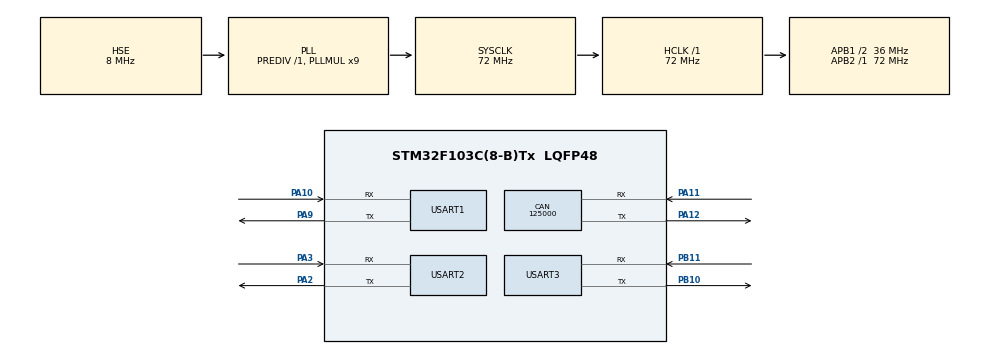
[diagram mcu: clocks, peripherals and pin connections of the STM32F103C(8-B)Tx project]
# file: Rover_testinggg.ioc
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CAN.BS1=CAN_BS1_15TQ
CAN.BS2=CAN_BS2_2TQ
CAN.CalculateBaudRate=125000
CAN.CalculateTimeBit=8000
CAN.CalculateTimeQuantum=444.44444444444446
Dma.Request0=USART1_RX
Dma.Request1=USART1_TX
Dma.Request2=USART2_RX
Dma.Request3=USART2_TX
Dma.Request4=USART3_RX
Dma.Request5=USART3_TX
Dma.USART1_RX.0.Direction=DMA_PERIPH_TO_MEMORY
Dma.USART1_RX.0.Instance=DMA1_Channel5
Dma.USART1_RX.0.MemDataAlignment=DMA_MDATAALIGN_BYTE
Dma.USART1_RX.0.MemInc=DMA_MINC_ENABLE
Dma.USART1_RX.0.Mode=DMA_NORMAL
Dma.USART1_RX.0.PeriphDataAlignment=DMA_PDATAALIGN_BYTE
Dma.USART1_RX.0.PeriphInc=DMA_PINC_DISABLE
Dma.USART1_RX.0.Priority=DMA_PRIORITY_LOW
Dma.USART1_TX.1.Direction=DMA_MEMORY_TO_PERIPH
Dma.USART1_TX.1.Instance=DMA1_Channel4
Dma.USART1_TX.1.MemDataAlignment=DMA_MDATAALIGN_BYTE
Dma.USART1_TX.1.MemInc=DMA_MINC_ENABLE
Dma.USART1_TX.1.Mode=DMA_NORMAL
Dma.USART1_TX.1.PeriphDataAlignment=DMA_PDATAALIGN_BYTE
Dma.USART1_TX.1.PeriphInc=DMA_PINC_DISABLE
Dma.USART1_TX.1.Priority=DMA_PRIORITY_LOW
Dma.USART2_RX.2.Direction=DMA_PERIPH_TO_MEMORY
Dma.USART2_RX.2.Instance=DMA1_Channel6
Dma.USART2_RX.2.MemDataAlignment=DMA_MDATAALIGN_BYTE
Dma.USART2_RX.2.MemInc=DMA_MINC_ENABLE
Dma.USART2_RX.2.Mode=DMA_NORMAL
Dma.USART2_RX.2.PeriphDataAlignment=DMA_PDATAALIGN_BYTE
Dma.USART2_RX.2.PeriphInc=DMA_PINC_DISABLE
Dma.USART2_RX.2.Priority=DMA_PRIORITY_LOW
Dma.USART2_TX.3.Direction=DMA_MEMORY_TO_PERIPH
Dma.USART2_TX.3.Instance=DMA1_Channel7
Dma.USART2_TX.3.MemDataAlignment=DMA_MDATAALIGN_BYTE
Dma.USART2_TX.3.MemInc=DMA_MINC_ENABLE
Dma.USART2_TX.3.Mode=DMA_NORMAL
Dma.USART2_TX.3.PeriphDataAlignment=DMA_PDATAALIGN_BYTE
Dma.USART2_TX.3.PeriphInc=DMA_PINC_DISABLE
Dma.USART2_TX.3.Priority=DMA_PRIORITY_LOW
Dma.USART3_RX.4.Direction=DMA_PERIPH_TO_MEMORY
Dma.USART3_RX.4.Instance=DMA1_Channel3
Dma.USART3_RX.4.MemDataAlignment=DMA_MDATAALIGN_BYTE
Dma.USART3_RX.4.MemInc=DMA_MINC_ENABLE
Dma.USART3_RX.4.Mode=DMA_NORMAL
Dma.USART3_RX.4.PeriphDataAlignment=DMA_PDATAALIGN_BYTE
Dma.USART3_RX.4.PeriphInc=DMA_PINC_DISABLE
Dma.USART3_RX.4.Priority=DMA_PRIORITY_LOW
Dma.USART3_TX.5.Direction=DMA_MEMORY_TO_PERIPH
Dma.USART3_TX.5.Instance=DMA1_Channel2
Dma.USART3_TX.5.MemDataAlignment=DMA_MDATAALIGN_BYTE
Dma.USART3_TX.5.MemInc=DMA_MINC_ENABLE
Dma.USART3_TX.5.Mode=DMA_NORMAL
Dma.USART3_TX.5.PeriphDataAlignment=DMA_PDATAALIGN_BYTE
Dma.USART3_TX.5.PeriphInc=DMA_PINC_DISABLE
Dma.USART3_TX.5.Priority=DMA_PRIORITY_LOW
Mcu.Family=STM32F1
Mcu.Name=STM32F103C(8-B)Tx
Mcu.Package=LQFP48
NVIC.DMA1_Channel2_IRQn=true\:0\:0\:false\:false\:true\:false\:true\:true
NVIC.DMA1_Channel3_IRQn=true\:0\:0\:false\:false\:true\:false\:true\:true
NVIC.DMA1_Channel4_IRQn=true\:0\:0\:false\:false\:true\:false\:true\:true
NVIC.DMA1_Channel5_IRQn=true\:0\:0\:false\:false\:true\:false\:true\:true
NVIC.DMA1_Channel6_IRQn=true\:0\:0\:false\:false\:true\:false\:true\:true
NVIC.DMA1_Channel7_IRQn=true\:0\:0\:false\:false\:true\:false\:true\:true
NVIC.PriorityGroup=NVIC_PRIORITYGROUP_4
NVIC.RCC_IRQn=true\:0\:0\:false\:false\:true\:true\:false\:true
NVIC.USART1_IRQn=true\:0\:0\:false\:false\:true\:true\:true\:true
NVIC.USART2_IRQn=true\:0\:0\:false\:false\:true\:true\:true\:true
NVIC.USART3_IRQn=true\:0\:0\:false\:false\:true\:true\:true\:true
PA10.Mode=Asynchronous
PA10.Signal=USART1_RX
PA11.Mode=CAN_Activate
PA11.Signal=CAN_RX
PA12.Mode=CAN_Activate
PA12.Signal=CAN_TX
PA13.Mode=Serial_Wire
PA13.Signal=SYS_JTMS-SWDIO
PA14.Mode=Serial_Wire
PA14.Signal=SYS_JTCK-SWCLK
PA2.Mode=Asynchronous
PA2.Signal=USART2_TX
PA3.Mode=Asynchronous
PA3.Signal=USART2_RX
PA9.Mode=Asynchronous
PA9.Signal=USART1_TX
PB10.Mode=Asynchronous
PB10.Signal=USART3_TX
PB11.Mode=Asynchronous
PB11.Signal=USART3_RX
PD0-OSC_IN.Mode=HSE-External-Oscillator
PD0-OSC_IN.Signal=RCC_OSC_IN
PD1-OSC_OUT.Mode=HSE-External-Oscillator
PD1-OSC_OUT.Signal=RCC_OSC_OUT
ProjectManager.HeapSize=0x200
ProjectManager.StackSize=0x400
ProjectManager.TargetToolchain=MDK-ARM V5.32
RCC.AHBFreq_Value=72000000
RCC.APB1CLKDivider=RCC_HCLK_DIV2
RCC.APB1Freq_Value=36000000
RCC.APB1TimFreq_Value=72000000
RCC.APB2Freq_Value=72000000
RCC.APB2TimFreq_Value=72000000
RCC.HCLKFreq_Value=72000000
RCC.PLLMUL=RCC_PLL_MUL9
RCC.PLLSourceVirtual=RCC_PLLSOURCE_HSE
RCC.SYSCLKFreq_VALUE=72000000
RCC.SYSCLKSource=RCC_SYSCLKSOURCE_PLLCLK
RCC.USBFreq_Value=72000000
USART1.VirtualMode=VM_ASYNC
USART2.VirtualMode=VM_ASYNC
USART3.VirtualMode=VM_ASYNC
board=custom

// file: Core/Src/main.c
/* USER CODE BEGIN Header */
/**
  ******************************************************************************
  * @file           : main.c
  * @author			: Adham Ehab
  * @title			: Rover Testing
  * @brief          : Main program body
  ******************************************************************************
  */
/* USER CODE END Header */
#include "main.h"

/* USER CODE BEGIN Includes */

#include "../../roboclaw/roboclaw.h"
#include "string.h"
#include <stdio.h>

/* USER CODE END Includes */

/* USER CODE BEGIN PTD */

#define pulses_per_revolution_encoder 5281
#define pulses_per_revolution_gearbox 28
#define reduction_ratio 188

#define CPR 1200            // Quadrature-decoded counts per revolution of the motor shaft
#define GEAR_RATIO 168      // Gear reduction ratio 168:1

/* USER CODE END PTD */

/* USER CODE BEGIN PM */

uint32_t encoderrrr;

SERIAL_HandleTypeDef* hserial_uart1;
SERIAL_HandleTypeDef* hserial_uart2;
SERIAL_HandleTypeDef* hserial_uart3;
RoboClaw_HandleTypeDef hroboclaw_mc1;
RoboClaw_HandleTypeDef hroboclaw_mc2;
RoboClaw_HandleTypeDef hroboclaw_mc3;

uint8_t motorsSpeeds[8];

ROBOCLAW_StatusTypeDef statusm1;

uint32_t m1_enc_cnt=0;

uint32_t m1a_speed=0;
uint32_t m1b_speed=0;
uint32_t m2a_speed=0;
uint32_t m2b_speed=0;
uint32_t m3a_speed=0;
uint32_t m3b_speed=0;

uint32_t prev_m1a_speed = 0;
uint32_t prev_m1b_speed = 0;
uint32_t prev_m2a_speed = 0;
uint32_t prev_m2b_speed = 0;
uint32_t prev_m3a_speed = 0;
uint32_t prev_m3b_speed = 0;
uint8_t data1=0;
uint8_t data3=0;

uint8_t status1a=0;
uint8_t status1b=0;
uint8_t status2a=0;
uint8_t status2b=0;
uint8_t status3a=0;
uint8_t status3b=0;
bool valid1a;
bool valid1b;
bool valid2a;
bool valid2b;
bool valid3a;
bool valid3b;

uint32_t debug_buff[100];
uint8_t SendMotorRPMs[6];

/* USER CODE END PM */

CAN_HandleTypeDef hcan;

UART_HandleTypeDef huart1;
UART_HandleTypeDef huart2;
UART_HandleTypeDef huart3;
DMA_HandleTypeDef hdma_usart1_rx;
DMA_HandleTypeDef hdma_usart1_tx;
DMA_HandleTypeDef hdma_usart2_rx;
DMA_HandleTypeDef hdma_usart2_tx;
DMA_HandleTypeDef hdma_usart3_rx;
DMA_HandleTypeDef hdma_usart3_tx;

void SystemClock_Config(void);
static void MX_GPIO_Init(void);
static void MX_DMA_Init(void);
static void MX_CAN_Init(void);
static void MX_USART1_UART_Init(void);
static void MX_USART2_UART_Init(void);
static void MX_USART3_UART_Init(void);
/* USER CODE BEGIN PFP */

/*
int32_t pulsesPerSecondToRPM(int32_t pulsesPerSecond) {
  int32_t motorRPM = ((pulsesPerSecond * 60.0) / (168.0 * 1200));
  return motorRPM;
}

int32_t pulsesPerSecondToRPM(int32_t pulsesPerSecond) {
  int32_t motorRPM = (pulsesPerSecond / pulses_per_revolution_gearbox) * (60 / reduction_ratio);
  return motorRPM;
}
*/

/* USER CODE END PFP */

/* USER CODE BEGIN 0 */

float motorRPM;
float outputRPM;

/*
int _write(int file, char *ptr, int len) {
    while (!uartTxComplete); // Wait if previous transmission is not done
    uartTxComplete = 0;
    HAL_UART_Transmit_IT(&huart1, (uint8_t*) ptr, len);
    return len;
}
*/
// UART transmission complete callback
//void HAL_UART_TxCpltCallback_NB(UART_HandleTypeDef *huart) {
//    if (huart->Instance == USART1) {
//        uartTxComplete = 1;
//    }
//}

CAN_FilterTypeDef sFilterConfig;
CAN_RxHeaderTypeDef RxHeader;
uint8_t RxData[8];
//uint8_t delayLED;
void HAL_CAN_RxFifo1MsgPendingCallback(CAN_HandleTypeDef *hcan)
{
  HAL_CAN_GetRxMessage(hcan, CAN_RX_FIFO1, &RxHeader, RxData);
//  delayLED = RxData[7];
}

//transmit
uint16_t readValue;
CAN_TxHeaderTypeDef TxHeader;
uint32_t TxMailbox;
uint8_t TxData[8]="ADHAM---";

/* USER CODE END 0 */

int main(void)
{

  /* MCU Configuration--------------------------------------------------------*/

  /* Reset of all peripherals, Initializes the Flash interface and the Systick. */
  HAL_Init();

  /* Configure the system clock */
  SystemClock_Config();

  /* Initialize all configured peripherals */
  MX_GPIO_Init();
  MX_DMA_Init();
  MX_CAN_Init();
  MX_USART1_UART_Init();
  MX_USART2_UART_Init();
  MX_USART3_UART_Init();
  /* USER CODE BEGIN 2 */

  /* Initialize RoboClaws */
	hserial_uart1 = serial_init(&huart1);
	hroboclaw_mc1.hserial = hserial_uart1;
	hroboclaw_mc1.packetserial_address = 0x80;

	hserial_uart2 = serial_init(&huart2);
	hroboclaw_mc2.hserial = hserial_uart2;
	hroboclaw_mc2.packetserial_address = 0x82;

	hserial_uart3 = serial_init(&huart3);
	hroboclaw_mc3.hserial = hserial_uart3;
	hroboclaw_mc3.packetserial_address = 0x84;

	HAL_CAN_Start(&hcan);
    TxHeader.DLC = 8;  // data length
    TxHeader.IDE = CAN_ID_STD;
    TxHeader.RTR = CAN_RTR_DATA;
    TxHeader.StdId = 0x6A5;  // ID can be between Hex1 and Hex7FF (1-2047 decimal)

    HAL_CAN_Start(&hcan);
	// Configure the filter
	sFilterConfig.FilterActivation = CAN_FILTER_ENABLE;
	sFilterConfig.FilterFIFOAssignment = CAN_FILTER_FIFO1;
	sFilterConfig.FilterMode = CAN_FILTERMODE_IDMASK;
	sFilterConfig.FilterIdHigh = 0x6A5<<5;
	sFilterConfig.FilterIdLow = 0;
	sFilterConfig.FilterMaskIdHigh = 0x7FF<<5; // SET 0 to unfilter
	sFilterConfig.FilterMaskIdLow = 0;
	sFilterConfig.FilterScale = CAN_FILTERSCALE_32BIT;
	HAL_CAN_ConfigFilter(&hcan, &sFilterConfig);
	// Activate the notification
	HAL_CAN_ActivateNotification(&hcan, CAN_IT_RX_FIFO1_MSG_PENDING);

  /* USER CODE END 2 */

  /* Infinite loop */
  /* USER CODE BEGIN WHILE */
  while (1)
  {

/******************encoder working code***************************/

	  /*
	  motorRPM = (encoderrrr * 60.0) / CPR;
	  outputRPM = motorRPM / GEAR_RATIO;
	  encoderrrr = ReadEncM1(&hroboclaw_mc1, &status1a, &valid1a);
	  BackwardM1(&hroboclaw_mc1, 80);
	  HAL_Delay(3000);

	  BackwardM1(&hroboclaw_mc1, 0);
	  HAL_Delay(3000);

	  HAL_CAN_AddTxMessage(&hcan, &TxHeader, TxData, &TxMailbox);
	  HAL_Delay(1000);
	  */

	  HAL_CAN_AddTxMessage(&hcan, &TxHeader, TxData, &TxMailbox);
	  motorsSpeeds[0] = RxData[0];
	  motorsSpeeds[1] = RxData[1];
	  motorsSpeeds[2] = RxData[2];
	  motorsSpeeds[3] = RxData[3];
	  motorsSpeeds[4] = RxData[4];
	  motorsSpeeds[5] = RxData[5];

	  ForwardBackwardM1(&hroboclaw_mc1, motorsSpeeds[3]);
	  ForwardBackwardM2(&hroboclaw_mc1, motorsSpeeds[0]);

	  ForwardBackwardM1(&hroboclaw_mc2, motorsSpeeds[1]);
	  ForwardBackwardM2(&hroboclaw_mc2, motorsSpeeds[4]);

	  ForwardBackwardM1(&hroboclaw_mc3, motorsSpeeds[2]);
	  ForwardBackwardM2(&hroboclaw_mc3, motorsSpeeds[5]);

	  HAL_Delay(20);

/*
		  ForwardBackwardM1(&hroboclaw_mc1, 80);
		  ForwardBackwardM2(&hroboclaw_mc1, 80);

		  ForwardBackwardM1(&hroboclaw_mc2, 80);
		  ForwardBackwardM2(&hroboclaw_mc2, 80);

		  ForwardBackwardM1(&hroboclaw_mc3, 80);
		  ForwardBackwardM2(&hroboclaw_mc3, 80);

		  HAL_Delay(3000);

		  ForwardBackwardM1(&hroboclaw_mc1, 64);
		  ForwardBackwardM2(&hroboclaw_mc1, 64);

		  ForwardBackwardM1(&hroboclaw_mc2, 64);
		  ForwardBackwardM2(&hroboclaw_mc2, 64);

		  ForwardBackwardM1(&hroboclaw_mc3, 64);
		  ForwardBackwardM2(&hroboclaw_mc3, 64);

		  HAL_Delay(3000);
*/
	  /*
	  ForwardBackwardM1(&hroboclaw_mc1, motorsSpeeds[0]);
	  ForwardBackwardM2(&hroboclaw_mc1, motorsSpeeds[3]);

	  ForwardBackwardM1(&hroboclaw_mc2, motorsSpeeds[1]);
	  ForwardBackwardM2(&hroboclaw_mc2, motorsSpeeds[4]);

	  ForwardBackwardM1(&hroboclaw_mc3, motorsSpeeds[2]);
	  ForwardBackwardM2(&hroboclaw_mc3, motorsSpeeds[5]);
	  */

	  /*
	  ForwardBackwardM1(&hroboclaw_mc1, 10);
	  ForwardBackwardM2(&hroboclaw_mc1, 10);

	  ForwardBackwardM1(&hroboclaw_mc2, 10);
	  ForwardBackwardM2(&hroboclaw_mc2, 10);

	  ForwardBackwardM1(&hroboclaw_mc3, 10);
	  ForwardBackwardM2(&hroboclaw_mc3, 10);

	  HAL_Delay(3000);

	  ForwardBackwardM1(&hroboclaw_mc1, 64);
	  ForwardBackwardM2(&hroboclaw_mc1, 64);

	  ForwardBackwardM1(&hroboclaw_mc2, 64);
	  ForwardBackwardM2(&hroboclaw_mc2, 64);

	  ForwardBackwardM1(&hroboclaw_mc3, 64);
	  ForwardBackwardM2(&hroboclaw_mc3, 64);

	  HAL_Delay(3000);
	  */

    /* USER CODE END WHILE */

    /* USER CODE BEGIN 3 */

	  //ForwardBackwardM1(&hroboclaw_mc1, 80);
	  		/*m1a_speed = ReadSpeedM1(&hroboclaw_mc1, &status1a, &valid1a);
	  		SendMotorRPMs[0]=pulsesPerSecondToRPM(m1a_speed);
	  					HAL_Delay(100);

	      //data=serial_read(&hroboclaw_mc1);
	  		//ForwardBackwardM2(&hroboclaw_mc1, 80);
	  		m1b_speed = ReadSpeedM2(&hroboclaw_mc1, &status1b, &valid1b);
	  		SendMotorRPMs[1]=pulsesPerSecondToRPM(m1b_speed);
	  				HAL_Delay(100);*/

	  				/*data1=serial_read(hserial_uart1);
	  							HAL_Delay(100);*/
	  	  //ForwardBackwardM1(&hroboclaw_mc2, 80);
	  		/*m2a_speed = ReadSpeedM1(&hroboclaw_mc2, &status2a, &valid2a);
	  		SendMotorRPMs[2] = pulsesPerSecondToRPM(m2a_speed);
	  				HAL_Delay(30);*/

	  	  //ADHaaaaaaaaaaaaaaaaaaaaaaaaaaaaaaaaaaaaaaaaaaaaaaaaaaaaaaaaaaaaaaaaaaaaaaaaaaaaaaaaaaaaaaaaaaam
	  //	  motorRPM = (encoderrrr * 60.0) / CPR;
	  //	  outputRPM = motorRPM / GEAR_RATIO;
	  //	  ForwardM1(&hroboclaw_mc1, 80);
	  //	  encoderrrr = ReadEncM1(&hroboclaw_mc1, &status1a, &valid1a);

	  //	  printf("Speed: %ld | Motor RPM: %.2f | Output RPM: %.2f\r\n",
	  //			  encoderrrr, motorRPM, outputRPM);
	  //		m2b_speed = ReadSpeedM2(&hroboclaw_mc2, &status2b, &valid2b);
	  //		SendMotorRPMs[3] = pulsesPerSecondToRPM(m2b_speed);
	  		//ForwardBackwardM1(&hroboclaw_mc3, 80);
	  		//m3a_speed = ReadSpeedM1(&hroboclaw_mc3, &status3a, &valid3a);
	  		//SendMotorRPMs[4] = pulsesPerSecondToRPM(m3a_speed);
	  				//	HAL_Delay(100);0

	  		//ForwardBackwardM2(&hroboclaw_mc3, 80);
	   /*m3b_speed = ReadSpeedM2(&hroboclaw_mc3, &status3b, &valid3b);
	  		SendMotorRPMs[5] = pulsesPerSecondToRPM(m3b_speed);
	  			HAL_Delay(50);*/

	  					/*	data3=serial_read(hserial_uart3);
	  							HAL_Delay(100);*/
	     /* BackwardM1(&hroboclaw_mc1, 60);
	  		snprintf((uint32_t*)debug_buff, 100, "%d\r\n", m1_speed);
	  		serial_write(hserial_uart2,(const uint32_t )debug_buff, strlen((const uint32_t)debug_buff));*/
  }
  /* USER CODE END 3 */
}

void SystemClock_Config(void)
{
  RCC_OscInitTypeDef RCC_OscInitStruct = {0};
  RCC_ClkInitTypeDef RCC_ClkInitStruct = {0};

  /** Initializes the RCC Oscillators according to the specified parameters
  * in the RCC_OscInitTypeDef structure.
  */
  RCC_OscInitStruct.OscillatorType = RCC_OSCILLATORTYPE_HSE;
  RCC_OscInitStruct.HSEState = RCC_HSE_ON;
  RCC_OscInitStruct.HSEPredivValue = RCC_HSE_PREDIV_DIV1;
  RCC_OscInitStruct.HSIState = RCC_HSI_ON;
  RCC_OscInitStruct.PLL.PLLState = RCC_PLL_ON;
  RCC_OscInitStruct.PLL.PLLSource = RCC_PLLSOURCE_HSE;
  RCC_OscInitStruct.PLL.PLLMUL = RCC_PLL_MUL9;
  if (HAL_RCC_OscConfig(&RCC_OscInitStruct) != HAL_OK)
  {
    Error_Handler();
  }

  /** Initializes the CPU, AHB and APB buses clocks
  */
  RCC_ClkInitStruct.ClockType = RCC_CLOCKTYPE_HCLK|RCC_CLOCKTYPE_SYSCLK
                              |RCC_CLOCKTYPE_PCLK1|RCC_CLOCKTYPE_PCLK2;
  RCC_ClkInitStruct.SYSCLKSource = RCC_SYSCLKSOURCE_PLLCLK;
  RCC_ClkInitStruct.AHBCLKDivider = RCC_SYSCLK_DIV1;
  RCC_ClkInitStruct.APB1CLKDivider = RCC_HCLK_DIV2;
  RCC_ClkInitStruct.APB2CLKDivider = RCC_HCLK_DIV1;

  if (HAL_RCC_ClockConfig(&RCC_ClkInitStruct, FLASH_LATENCY_2) != HAL_OK)
  {
    Error_Handler();
  }
}

static void MX_CAN_Init(void)
{

  hcan.Instance = CAN1;
  hcan.Init.Prescaler = 18;
  hcan.Init.Mode = CAN_MODE_NORMAL;
  hcan.Init.SyncJumpWidth = CAN_SJW_1TQ;
  hcan.Init.TimeSeg1 = CAN_BS1_2TQ;
  hcan.Init.TimeSeg2 = CAN_BS2_1TQ;
  hcan.Init.TimeTriggeredMode = DISABLE;
  hcan.Init.AutoBusOff = DISABLE;
  hcan.Init.AutoWakeUp = DISABLE;
  hcan.Init.AutoRetransmission = DISABLE;
  hcan.Init.ReceiveFifoLocked = DISABLE;
  hcan.Init.TransmitFifoPriority = DISABLE;
  if (HAL_CAN_Init(&hcan) != HAL_OK)
  {
    Error_Handler();
  }

}

static void MX_USART1_UART_Init(void)
{

  huart1.Instance = USART1;
  huart1.Init.BaudRate = 115200;
  huart1.Init.WordLength = UART_WORDLENGTH_8B;
  huart1.Init.StopBits = UART_STOPBITS_1;
  huart1.Init.Parity = UART_PARITY_NONE;
  huart1.Init.Mode = UART_MODE_TX_RX;
  huart1.Init.HwFlowCtl = UART_HWCONTROL_NONE;
  huart1.Init.OverSampling = UART_OVERSAMPLING_16;
  if (HAL_UART_Init(&huart1) != HAL_OK)
  {
    Error_Handler();
  }

}

static void MX_USART2_UART_Init(void)
{

  huart2.Instance = USART2;
  huart2.Init.BaudRate = 115200;
  huart2.Init.WordLength = UART_WORDLENGTH_8B;
  huart2.Init.StopBits = UART_STOPBITS_1;
  huart2.Init.Parity = UART_PARITY_NONE;
  huart2.Init.Mode = UART_MODE_TX_RX;
  huart2.Init.HwFlowCtl = UART_HWCONTROL_NONE;
  huart2.Init.OverSampling = UART_OVERSAMPLING_16;
  if (HAL_UART_Init(&huart2) != HAL_OK)
  {
    Error_Handler();
  }

}

static void MX_USART3_UART_Init(void)
{

  huart3.Instance = USART3;
  huart3.Init.BaudRate = 115200;
  huart3.Init.WordLength = UART_WORDLENGTH_8B;
  huart3.Init.StopBits = UART_STOPBITS_1;
  huart3.Init.Parity = UART_PARITY_NONE;
  huart3.Init.Mode = UART_MODE_TX_RX;
  huart3.Init.HwFlowCtl = UART_HWCONTROL_NONE;
  huart3.Init.OverSampling = UART_OVERSAMPLING_16;
  if (HAL_UART_Init(&huart3) != HAL_OK)
  {
    Error_Handler();
  }

}

static void MX_DMA_Init(void)
{

  /* DMA controller clock enable */
  __HAL_RCC_DMA1_CLK_ENABLE();

  /* DMA interrupt init */
  /* DMA1_Channel2_IRQn interrupt configuration */
  HAL_NVIC_SetPriority(DMA1_Channel2_IRQn, 0, 0);
  HAL_NVIC_EnableIRQ(DMA1_Channel2_IRQn);
  /* DMA1_Channel3_IRQn interrupt configuration */
  HAL_NVIC_SetPriority(DMA1_Channel3_IRQn, 0, 0);
  HAL_NVIC_EnableIRQ(DMA1_Channel3_IRQn);
  /* DMA1_Channel4_IRQn interrupt configuration */
  HAL_NVIC_SetPriority(DMA1_Channel4_IRQn, 0, 0);
  HAL_NVIC_EnableIRQ(DMA1_Channel4_IRQn);
  /* DMA1_Channel5_IRQn interrupt configuration */
  HAL_NVIC_SetPriority(DMA1_Channel5_IRQn, 0, 0);
  HAL_NVIC_EnableIRQ(DMA1_Channel5_IRQn);
  /* DMA1_Channel6_IRQn interrupt configuration */
  HAL_NVIC_SetPriority(DMA1_Channel6_IRQn, 0, 0);
  HAL_NVIC_EnableIRQ(DMA1_Channel6_IRQn);
  /* DMA1_Channel7_IRQn interrupt configuration */
  HAL_NVIC_SetPriority(DMA1_Channel7_IRQn, 0, 0);
  HAL_NVIC_EnableIRQ(DMA1_Channel7_IRQn);

}

static void MX_GPIO_Init(void)
{

  /* GPIO Ports Clock Enable */
  __HAL_RCC_GPIOD_CLK_ENABLE();
  __HAL_RCC_GPIOA_CLK_ENABLE();
  __HAL_RCC_GPIOB_CLK_ENABLE();

}

void Error_Handler(void)
{
  __disable_irq();
  while (1)
  {
  }
}
